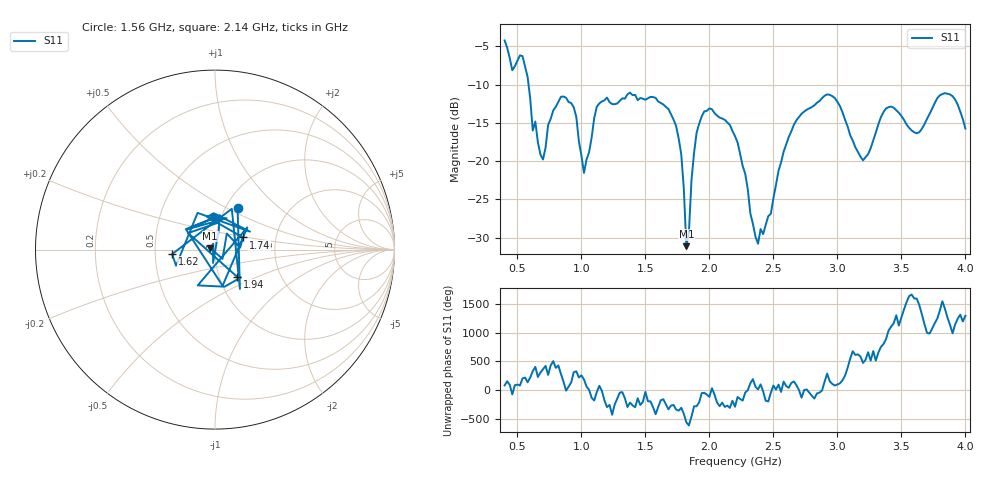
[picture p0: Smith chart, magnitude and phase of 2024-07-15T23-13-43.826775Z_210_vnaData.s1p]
!Created with skrf (http://scikit-rf.org).
# Hz S RI R 50.0
!freq ReS11 ImS11
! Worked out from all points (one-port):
!   181 points, 400 MHz to 4 GHz, reference 50 ohm
!   lowest |S11| = -31.1 dB at 1.82 GHz (marker M1), VSWR 1.06, Z = 47.4 + j0.853 ohm
!   |S11| at or under -10 dB: 587.1 MHz to end of sweep
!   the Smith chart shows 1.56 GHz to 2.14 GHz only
!   S11 on the Smith chart (normalised r, x): 1.56 GHz: 1.14, +0.56; 1.62 GHz: 0.61, -0.03; 1.74 GHz: 1.35, +0.19; 1.94 GHz: 1.22, -0.39; 2.14 GHz: 0.93, +0.34
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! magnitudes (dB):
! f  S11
! 400 MHz  -4.2
! 460 MHz  -8.1
! 540 MHz  -6.3
! 620 MHz  -16.0
! 700 MHz  -19.8
! 860 MHz  -11.5
! 960 MHz  -14.2
! 1.02 GHz  -21.5
! 1.12 GHz  -12.9
! 1.3 GHz  -12.1
! 1.56 GHz  -11.6
! 1.62 GHz  -12.4
! 1.74 GHz  -15.4
! 1.76 GHz  -17.0
! 1.82 GHz  -31.1
! 1.88 GHz  -18.9
! 1.94 GHz  -14.1
! 2.14 GHz  -14.9
! 2.2 GHz  -16.7
! 2.38 GHz  -30.8
! 2.66 GHz  -15.2
! 2.92 GHz  -11.3
! 3.1 GHz  -16.6
! 3.2 GHz  -19.9
! 3.38 GHz  -13.1
! 3.56 GHz  -15.6
! 3.84 GHz  -11.1
! 4 GHz  -15.7
